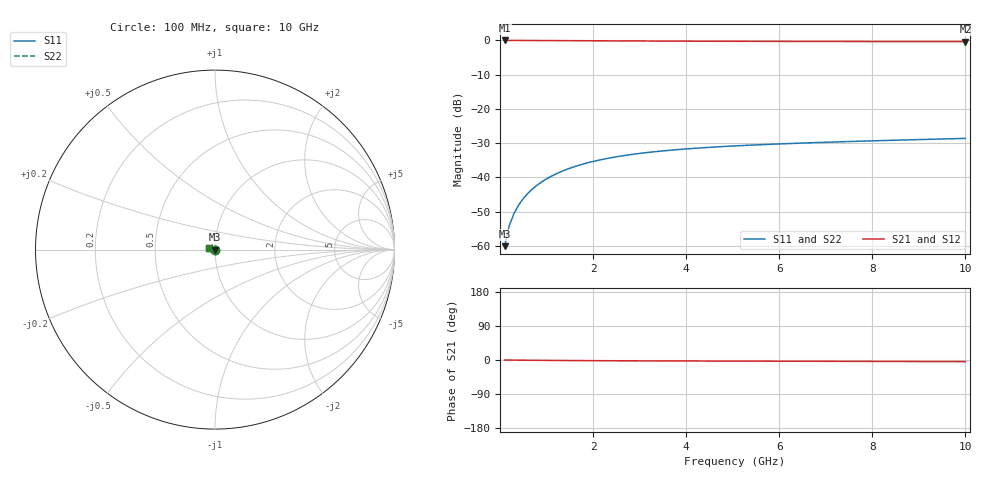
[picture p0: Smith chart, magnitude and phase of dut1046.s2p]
! Touchstone file exported from HFSS 2024.1.0
!  File:  C:/UserFiles/LocalFiles/RDL_TSV_Batchsim/temp_TSV1_1046_1780062102.aedt
!  Generated:  09:47:22 PM May 29, 2026
!  Design:  TSV1
!  Project:  temp_TSV1_1046_1780062102
!  Setup:  Setup1
!  Solution:  Sweep
! Variables:
!  dtsv = 10.69um
!  hbump = 3um
!  htsv = 63.33um
!  lrdl = 252.1521522um
!  p = 40
!  p1 = 57.71um
!  t = 500um
!  trdl = 3um
!  wrdl = 24.89489489um
# GHz S MA R 50.000000
! Terminal data exported
! Port[1] = TSV22_T1
! Port[2] = TSV22_T2
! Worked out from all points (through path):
!   100 points, 100 MHz to 10 GHz, reference 50 ohm
!   highest |S21| = 0.00 dB at 100 MHz (marker M1); lowest = -0.3 dB at 10 GHz (marker M2)
!   lowest |S11| = -60.1 dB at 100 MHz (marker M3), VSWR 1.00, Z = 50 - j0.0985 ohm
!   |S11| at or under -10 dB: start of sweep to end of sweep
!   |S22| runs from -60.1 to -28.6 dB; largest |S21 - S12| = 5e-15
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0.1  0.0009879 -85.7  0.9999 -0.1  0.9999 -0.1  0.0009879 -85.7
! Gamma 0 0 0 0
! Port Impedance 50 0 50 0
0.2  0.001968 -90.8  0.9997 -0.2  0.9997 -0.2  0.001968 -90.8
0.3  0.002948 -93.9  0.9995 -0.3  0.9995 -0.3  0.002948 -93.9
0.4  0.003923 -96.5  0.9993 -0.4  0.9993 -0.4  0.003923 -96.5
0.5  0.00489 -98.9  0.9989 -0.5  0.9989 -0.5  0.00489 -98.9
0.6  0.005845 -101.2  0.9985 -0.6  0.9985 -0.6  0.005845 -101.2
0.7  0.006785 -103.4  0.9981 -0.7  0.9981 -0.7  0.006785 -103.4
0.8  0.007709 -105.5  0.9976 -0.8  0.9976 -0.8  0.007709 -105.5
0.9  0.008614 -107.6  0.997 -0.9  0.997 -0.9  0.008614 -107.6
1.1  0.01036 -111.6  0.9958 -1.1  0.9958 -1.1  0.01036 -111.6
1.4  0.01281 -117.4  0.9937 -1.3  0.9937 -1.3  0.01281 -117.4
1.6  0.01433 -121.1  0.9923 -1.5  0.9923 -1.5  0.01433 -121.1
1.8  0.01574 -124.6  0.9907 -1.6  0.9907 -1.6  0.01574 -124.6
2.1  0.01768 -129.5  0.9884 -1.8  0.9884 -1.8  0.01768 -129.5
2.5  0.01996 -135.6  0.9854 -2.0  0.9854 -2.0  0.01996 -135.6
2.9  0.02191 -141.1  0.9826 -2.2  0.9826 -2.2  0.02191 -141.1
3.4  0.02397 -147.4  0.9794 -2.4  0.9794 -2.4  0.02397 -147.4
4.2  0.02661 -156.1  0.9751 -2.7  0.9751 -2.7  0.02661 -156.1
5.1  0.02891 -164.3  0.9715 -2.9  0.9715 -2.9  0.02891 -164.3
6.7  0.03204 -176.3  0.9669 -3.4  0.9669 -3.4  0.03204 -176.3
8.4  0.03475 173.6  0.9639 -3.9  0.9639 -3.9  0.03475 173.6
10  0.03708 165.6  0.9619 -4.3  0.9619 -4.3  0.03708 165.6
